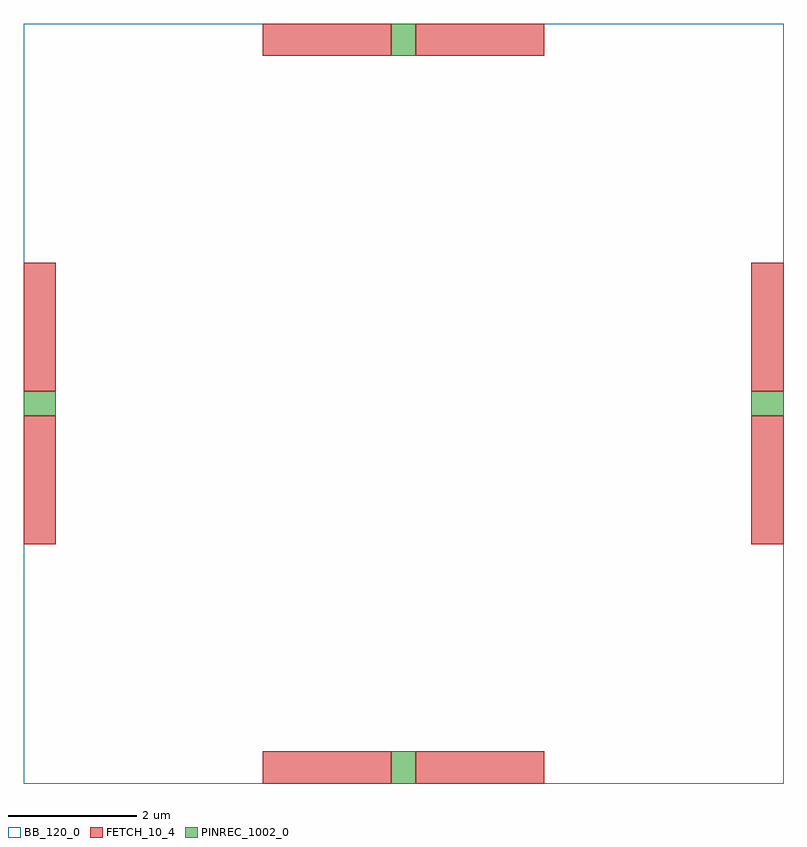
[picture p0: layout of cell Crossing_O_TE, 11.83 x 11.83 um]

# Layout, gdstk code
import gdstk
lib = gdstk.Library(unit=1e-6, precision=1e-09)
def R(c, l, rs):  # rectangles x0, y0, x1, y1
    for r in rs: c.add(gdstk.rectangle(r[:2], r[2:], *l))
FETCH_10_4 = (10, 4)
BB_120_0 = (120, 0)
PINREC_1002_0 = (1002, 0)

crossing_o_te = lib.new_cell('Crossing_O_TE')
R(crossing_o_te, FETCH_10_4, [(3.724,0,5.724,0.5), (6.104,0,8.104,0.5), (0,3.724,0.5,5.724), (11.328,3.724,11.828,5.724), (0,6.104,0.5,8.104), (11.328,6.104,11.828,8.104), (3.724,11.328,5.724,11.828), (6.104,11.328,8.104,11.828)])
R(crossing_o_te, BB_120_0, [(0,0,11.828,11.828)])
R(crossing_o_te, PINREC_1002_0, [(5.724,0,6.104,0.5), (0,5.724,0.5,6.104), (11.328,5.724,11.828,6.104), (5.724,11.328,6.104,11.828)])

lib.write_gds('Crossing_O_TE.gds')
